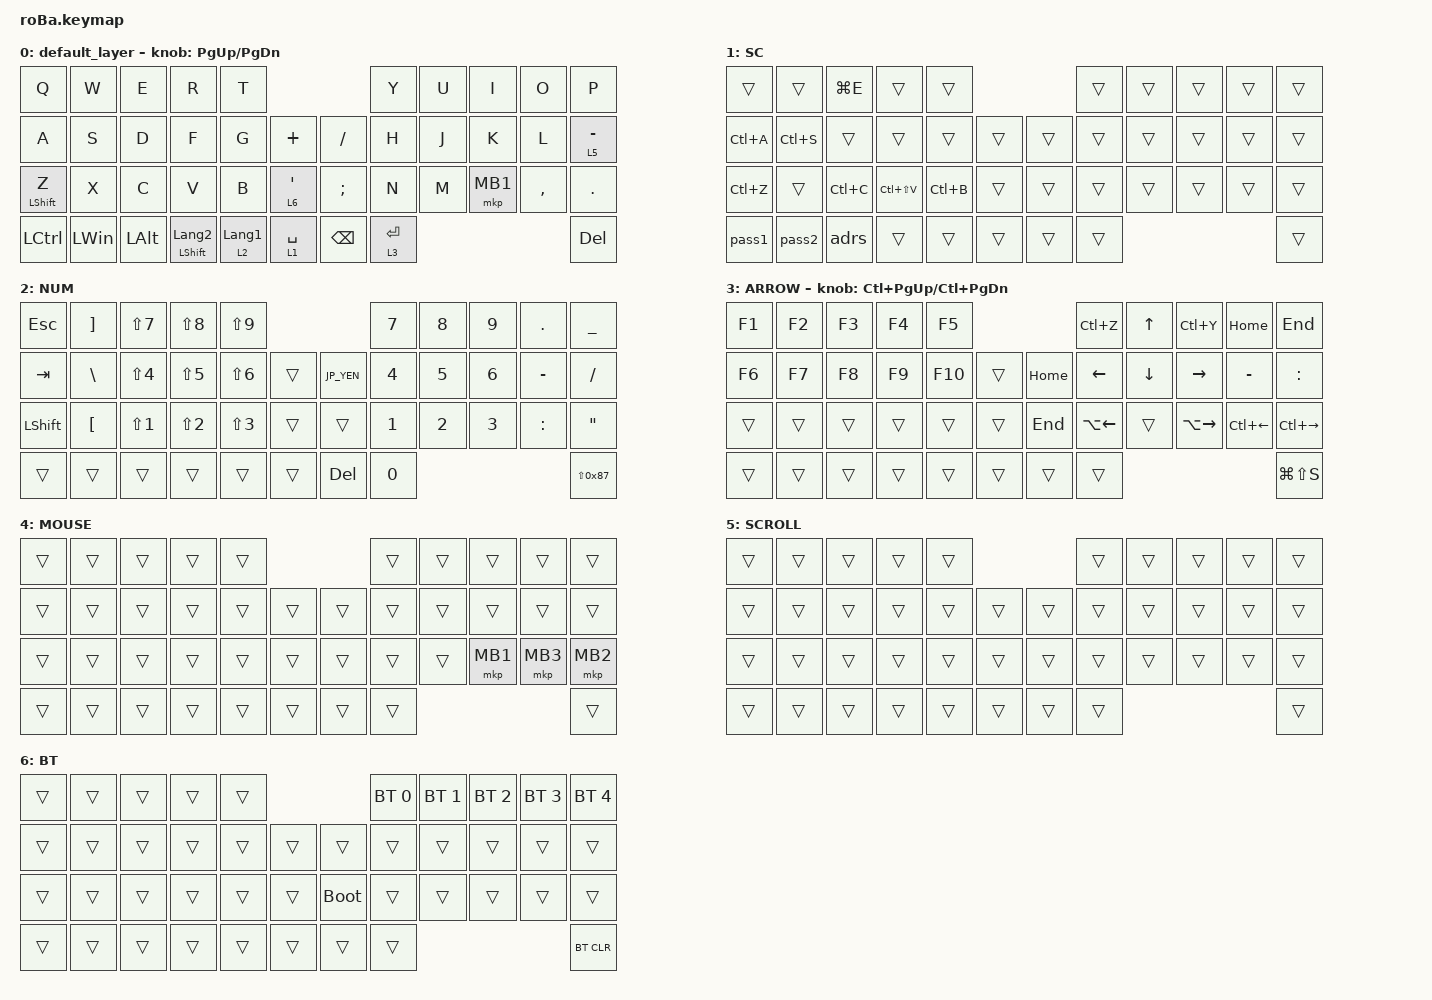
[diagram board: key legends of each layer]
#include <behaviors.dtsi>
#include <dt-bindings/zmk/bt.h>
#include <dt-bindings/zmk/keys.h>
#include <dt-bindings/zmk/pointing.h>

&mt {
    flavor = "balanced";
    quick-tap-ms = <0>;
};

&trackball {
    automouse-layer = <4>;
    scroll-layers = <5>;

    // arrows {
    //     layers = <3>;
    //     bindings =
    //         <&kp RIGHT_ARROW>,
    //         <&kp LEFT_ARROW>,
    //         <&kp UP_ARROW>,
    //         <&kp DOWN_ARROW>;
    //     tick = <10>;
    //     wait-ms = <5>;
    //     tap-ms = <5>;
    // };
};

#define JP_YEN 0x89             //¥
#define JP_UNDERSCORE LS(0x87)  //_

/ {
    combos { compatible = "zmk,combos"; };

    macros {
        to_layer_0: to_layer_0 {
            compatible = "zmk,behavior-macro-one-param";
            #binding-cells = <1>;
            bindings = <&to 0 &macro_param_1to1 &kp MACRO_PLACEHOLDER>;
            label = "TO_LAYER_0";
        };

        pass1: pass1 {
            compatible = "zmk,behavior-macro";
            #binding-cells = <0>;
            bindings = <&kp LS(Y) &kp A &kp M &kp A &kp N &kp Y &kp N0 &kp N4 &kp N6 &kp N9>;
            label = "PASS1";
        };

        pass2: pass2 {
            compatible = "zmk,behavior-macro";
            #binding-cells = <0>;
            bindings = <&kp J &kp R &kp E &kp D &kp N0 &kp N0 &kp N0 &kp N1>;
            label = "PASS2";
        };

        adrs: adrs {
            compatible = "zmk,behavior-macro";
            #binding-cells = <0>;
            bindings = <&kp LANGUAGE_2 &kp Y &kp MINUS &kp Y &kp A &kp M &kp A &kp N &kp E &kp LEFT_BRACKET &kp J &kp R &kp E &kp D &kp PERIOD &kp C &kp O &kp PERIOD &kp J &kp P>;
            label = "ADRS";
        };
    };

    behaviors {
        lt_to_layer_0: lt_to_layer_0 {
            compatible = "zmk,behavior-hold-tap";
            label = "LAYER_TAP_TO_0";
            bindings = <&mo>, <&to_layer_0>;

            #binding-cells = <2>;
            tapping-term-ms = <200>;
        };
    };

    keymap {
        compatible = "zmk,keymap";

        default_layer {
            bindings = <
&kp Q             &kp W         &kp E         &kp R                      &kp T                                                    &kp Y        &kp U  &kp I     &kp O      &kp P
&kp A             &kp S         &kp D         &kp F                      &kp G             &kp PLUS                &kp SLASH      &kp H        &kp J  &kp K     &kp L      &lt 5 MINUS
&mt LEFT_SHIFT Z  &kp X         &kp C         &kp V                      &kp B             &lt 6 SINGLE_QUOTE      &kp SEMICOLON  &kp N        &kp M  &mkp MB1  &kp COMMA  &kp PERIOD
&kp LCTRL         &kp LEFT_WIN  &kp LEFT_ALT  &mt LEFT_SHIFT LANGUAGE_2  &lt 2 LANGUAGE_1  &lt 1 SPACE             &kp BACKSPACE  &lt 3 ENTER                              &kp DEL
            >;

            sensor-bindings = <&inc_dec_kp PG_UP PAGE_DOWN>;
        };

        SC {
            bindings = <
&trans     &trans     &kp LG(E)  &trans         &trans                         &trans  &trans  &trans  &trans  &trans
&kp LC(A)  &kp LC(S)  &trans     &trans         &trans     &trans      &trans  &trans  &trans  &trans  &trans  &trans
&kp LC(Z)  &trans     &kp LC(C)  &kp LC(LS(V))  &kp LC(B)  &trans      &trans  &trans  &trans  &trans  &trans  &trans
&pass1     &pass2     &adrs      &trans         &trans     &trans      &trans  &trans                          &trans
            >;
        };

        NUM {
            bindings = <
&kp ESCAPE      &kp RIGHT_BRACKET  &kp LS(N7)        &kp LS(NUMBER_8)  &kp LS(NUMBER_9)                          &kp NUMBER_7  &kp NUMBER_8  &kp NUMBER_9  &kp DOT    &kp UNDER
&kp TAB         &kp BACKSLASH      &kp LS(NUMBER_4)  &kp LS(NUMBER_5)  &kp LS(NUMBER_6)  &trans      &kp JP_YEN  &kp NUMBER_4  &kp NUMBER_5  &kp NUMBER_6  &kp MINUS  &kp SLASH
&kp LEFT_SHIFT  &kp LEFT_BRACKET   &kp LS(NUMBER_1)  &kp LS(NUMBER_2)  &kp LS(NUMBER_3)  &trans      &trans      &kp NUMBER_1  &kp NUMBER_2  &kp NUMBER_3  &kp COLON  &kp DOUBLE_QUOTES
&trans          &trans             &trans            &trans            &trans            &trans      &kp DELETE  &kp NUMBER_0                                         &kp JP_UNDERSCORE
            >;
        };

        ARROW {
            bindings = <
&kp F1  &kp F2  &kp F3  &kp F4  &kp F5                         &kp LC(Z)     &kp UP_ARROW  &kp LC(Y)        &kp HOME            &kp END
&kp F6  &kp F7  &kp F8  &kp F9  &kp F10  &trans      &kp HOME  &kp LEFT      &kp DOWN      &kp RIGHT_ARROW  &kp MINUS           &kp COLON
&trans  &trans  &trans  &trans  &trans   &trans      &kp END   &kp LA(LEFT)  &trans        &kp LA(RIGHT)    &kp LC(LEFT_ARROW)  &kp LC(RIGHT)
&trans  &trans  &trans  &trans  &trans   &trans      &trans    &trans                                                           &kp LG(LS(S))
            >;

            sensor-bindings = <&inc_dec_kp LC(PAGE_UP) LC(PAGE_DOWN)>;
        };

        MOUSE {
            bindings = <
&trans  &trans  &trans  &trans  &trans                      &trans  &trans  &trans    &trans    &trans
&trans  &trans  &trans  &trans  &trans  &trans      &trans  &trans  &trans  &trans    &trans    &trans
&trans  &trans  &trans  &trans  &trans  &trans      &trans  &trans  &trans  &mkp MB1  &mkp MB3  &mkp MB2
&trans  &trans  &trans  &trans  &trans  &trans      &trans  &trans                              &trans
            >;
        };

        SCROLL {
            bindings = <
&trans  &trans  &trans  &trans  &trans                      &trans  &trans  &trans  &trans  &trans
&trans  &trans  &trans  &trans  &trans  &trans      &trans  &trans  &trans  &trans  &trans  &trans
&trans  &trans  &trans  &trans  &trans  &trans      &trans  &trans  &trans  &trans  &trans  &trans
&trans  &trans  &trans  &trans  &trans  &trans      &trans  &trans                          &trans
            >;
        };

        BT {
            bindings = <
&trans  &trans  &trans  &trans  &trans                           &bt BT_SEL 0  &bt BT_SEL 1  &bt BT_SEL 2  &bt BT_SEL 3  &bt BT_SEL 4
&trans  &trans  &trans  &trans  &trans  &trans      &trans       &trans        &trans        &trans        &trans        &trans
&trans  &trans  &trans  &trans  &trans  &trans      &bootloader  &trans        &trans        &trans        &trans        &trans
&trans  &trans  &trans  &trans  &trans  &trans      &trans       &trans                                                  &bt BT_CLR
            >;
        };
    };
};
